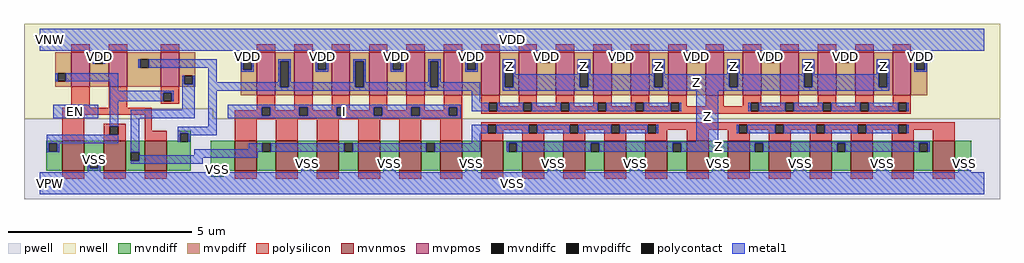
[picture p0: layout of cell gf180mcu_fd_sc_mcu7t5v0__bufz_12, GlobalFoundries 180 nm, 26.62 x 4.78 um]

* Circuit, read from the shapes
.subckt gf180mcu_fd_sc_mcu7t5v0__bufz_12 EN I Z VDD VNW VPW VSS
XM1 VSS EN n1 VPW nfet_06v0 w=0.82u l=0.6u
XM2 n2 n1 VSS VPW nfet_06v0 w=0.82u l=0.6u
XM3 n3 EN n2 VPW nfet_06v0 w=0.82u l=0.6u
XM4 n2 I VSS VPW nfet_06v0 w=0.82u l=0.6u m=6
XM5 Z n2 VSS VPW nfet_06v0 w=0.82u l=0.6u m=12
XM6 VDD EN n1 VNW pfet_06v0 w=0.945u l=0.5u
XM7 n3 EN VDD VNW pfet_06v0 w=0.945u l=0.5u
XM8 n2 n1 n3 VNW pfet_06v0 w=0.945u l=0.5u
XM9 n3 I VDD VNW pfet_06v0 w=1.175u l=0.5u m=6
XM10 Z n3 VDD VNW pfet_06v0 w=1.175u l=0.5u m=12
.ends

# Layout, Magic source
magic
tech gf180mcuD
magscale 1 10
<< nwell >>
rect -86 407 5238 870
rect -86 352 575 407
rect 943 352 5238 407
<< pwell >>
rect 575 352 943 407
rect -86 -86 5238 352
<< mvnmos >>
rect 124 68 244 232
rect 348 68 468 232
rect 572 68 692 232
rect 1064 68 1184 232
rect 1288 68 1408 232
rect 1512 68 1632 232
rect 1736 68 1856 232
rect 1960 68 2080 232
rect 2184 68 2304 232
rect 2408 68 2528 232
rect 2632 68 2752 232
rect 2856 68 2976 232
rect 3080 68 3200 232
rect 3304 68 3424 232
rect 3528 68 3648 232
rect 3752 68 3872 232
rect 3976 68 4096 232
rect 4200 68 4320 232
rect 4424 68 4544 232
rect 4648 68 4768 232
rect 4872 68 4992 232
<< mvpmos >>
rect 172 527 272 716
rect 376 527 476 716
rect 660 527 760 716
rect 1184 481 1284 716
rect 1388 481 1488 716
rect 1592 481 1692 716
rect 1796 481 1896 716
rect 2000 481 2100 716
rect 2204 481 2304 716
rect 2408 481 2508 716
rect 2612 481 2712 716
rect 2816 481 2916 716
rect 3020 481 3120 716
rect 3224 481 3324 716
rect 3428 481 3528 716
rect 3632 481 3732 716
rect 3836 481 3936 716
rect 4040 481 4140 716
rect 4244 481 4344 716
rect 4448 481 4548 716
rect 4652 481 4752 716
<< mvndiff >>
rect 752 274 824 287
rect 752 232 765 274
rect 36 219 124 232
rect 36 173 49 219
rect 95 173 124 219
rect 36 68 124 173
rect 244 128 348 232
rect 244 82 273 128
rect 319 82 348 128
rect 244 68 348 82
rect 468 169 572 232
rect 468 123 497 169
rect 543 123 572 169
rect 468 68 572 123
rect 692 228 765 232
rect 811 228 824 274
rect 692 68 824 228
rect 932 95 1064 232
rect 932 49 945 95
rect 991 68 1064 95
rect 1184 219 1288 232
rect 1184 173 1213 219
rect 1259 173 1288 219
rect 1184 68 1288 173
rect 1408 127 1512 232
rect 1408 81 1437 127
rect 1483 81 1512 127
rect 1408 68 1512 81
rect 1632 219 1736 232
rect 1632 173 1661 219
rect 1707 173 1736 219
rect 1632 68 1736 173
rect 1856 127 1960 232
rect 1856 81 1885 127
rect 1931 81 1960 127
rect 1856 68 1960 81
rect 2080 219 2184 232
rect 2080 173 2109 219
rect 2155 173 2184 219
rect 2080 68 2184 173
rect 2304 127 2408 232
rect 2304 81 2333 127
rect 2379 81 2408 127
rect 2304 68 2408 81
rect 2528 219 2632 232
rect 2528 173 2557 219
rect 2603 173 2632 219
rect 2528 68 2632 173
rect 2752 127 2856 232
rect 2752 81 2781 127
rect 2827 81 2856 127
rect 2752 68 2856 81
rect 2976 219 3080 232
rect 2976 173 3005 219
rect 3051 173 3080 219
rect 2976 68 3080 173
rect 3200 127 3304 232
rect 3200 81 3229 127
rect 3275 81 3304 127
rect 3200 68 3304 81
rect 3424 219 3528 232
rect 3424 173 3453 219
rect 3499 173 3528 219
rect 3424 68 3528 173
rect 3648 127 3752 232
rect 3648 81 3677 127
rect 3723 81 3752 127
rect 3648 68 3752 81
rect 3872 219 3976 232
rect 3872 173 3901 219
rect 3947 173 3976 219
rect 3872 68 3976 173
rect 4096 127 4200 232
rect 4096 81 4125 127
rect 4171 81 4200 127
rect 4096 68 4200 81
rect 4320 219 4424 232
rect 4320 173 4349 219
rect 4395 173 4424 219
rect 4320 68 4424 173
rect 4544 127 4648 232
rect 4544 81 4573 127
rect 4619 81 4648 127
rect 4544 68 4648 81
rect 4768 219 4872 232
rect 4768 173 4797 219
rect 4843 173 4872 219
rect 4768 68 4872 173
rect 4992 127 5080 232
rect 4992 81 5021 127
rect 5067 81 5080 127
rect 4992 68 5080 81
rect 991 49 1004 68
rect 932 36 1004 49
<< mvpdiff >>
rect 84 602 172 716
rect 84 556 97 602
rect 143 556 172 602
rect 84 527 172 556
rect 272 698 376 716
rect 272 652 301 698
rect 347 652 376 698
rect 272 527 376 652
rect 476 678 660 716
rect 476 632 548 678
rect 594 632 660 678
rect 476 527 660 632
rect 760 586 848 716
rect 760 540 789 586
rect 835 540 848 586
rect 760 527 848 540
rect 1096 665 1184 716
rect 1096 619 1109 665
rect 1155 619 1184 665
rect 1096 481 1184 619
rect 1284 665 1388 716
rect 1284 525 1313 665
rect 1359 525 1388 665
rect 1284 481 1388 525
rect 1488 665 1592 716
rect 1488 619 1517 665
rect 1563 619 1592 665
rect 1488 481 1592 619
rect 1692 665 1796 716
rect 1692 525 1721 665
rect 1767 525 1796 665
rect 1692 481 1796 525
rect 1896 665 2000 716
rect 1896 619 1925 665
rect 1971 619 2000 665
rect 1896 481 2000 619
rect 2100 665 2204 716
rect 2100 525 2129 665
rect 2175 525 2204 665
rect 2100 481 2204 525
rect 2304 665 2408 716
rect 2304 619 2333 665
rect 2379 619 2408 665
rect 2304 481 2408 619
rect 2508 665 2612 716
rect 2508 525 2537 665
rect 2583 525 2612 665
rect 2508 481 2612 525
rect 2712 703 2816 716
rect 2712 657 2741 703
rect 2787 657 2816 703
rect 2712 481 2816 657
rect 2916 665 3020 716
rect 2916 525 2945 665
rect 2991 525 3020 665
rect 2916 481 3020 525
rect 3120 703 3224 716
rect 3120 657 3149 703
rect 3195 657 3224 703
rect 3120 481 3224 657
rect 3324 665 3428 716
rect 3324 525 3353 665
rect 3399 525 3428 665
rect 3324 481 3428 525
rect 3528 703 3632 716
rect 3528 657 3557 703
rect 3603 657 3632 703
rect 3528 481 3632 657
rect 3732 665 3836 716
rect 3732 525 3761 665
rect 3807 525 3836 665
rect 3732 481 3836 525
rect 3936 703 4040 716
rect 3936 657 3965 703
rect 4011 657 4040 703
rect 3936 481 4040 657
rect 4140 665 4244 716
rect 4140 525 4169 665
rect 4215 525 4244 665
rect 4140 481 4244 525
rect 4344 703 4448 716
rect 4344 657 4373 703
rect 4419 657 4448 703
rect 4344 481 4448 657
rect 4548 665 4652 716
rect 4548 525 4577 665
rect 4623 525 4652 665
rect 4548 481 4652 525
rect 4752 665 4840 716
rect 4752 619 4781 665
rect 4827 619 4840 665
rect 4752 481 4840 619
<< mvndiffc >>
rect 49 173 95 219
rect 273 82 319 128
rect 497 123 543 169
rect 765 228 811 274
rect 945 49 991 95
rect 1213 173 1259 219
rect 1437 81 1483 127
rect 1661 173 1707 219
rect 1885 81 1931 127
rect 2109 173 2155 219
rect 2333 81 2379 127
rect 2557 173 2603 219
rect 2781 81 2827 127
rect 3005 173 3051 219
rect 3229 81 3275 127
rect 3453 173 3499 219
rect 3677 81 3723 127
rect 3901 173 3947 219
rect 4125 81 4171 127
rect 4349 173 4395 219
rect 4573 81 4619 127
rect 4797 173 4843 219
rect 5021 81 5067 127
<< mvpdiffc >>
rect 97 556 143 602
rect 301 652 347 698
rect 548 632 594 678
rect 789 540 835 586
rect 1109 619 1155 665
rect 1313 525 1359 665
rect 1517 619 1563 665
rect 1721 525 1767 665
rect 1925 619 1971 665
rect 2129 525 2175 665
rect 2333 619 2379 665
rect 2537 525 2583 665
rect 2741 657 2787 703
rect 2945 525 2991 665
rect 3149 657 3195 703
rect 3353 525 3399 665
rect 3557 657 3603 703
rect 3761 525 3807 665
rect 3965 657 4011 703
rect 4169 525 4215 665
rect 4373 657 4419 703
rect 4577 525 4623 665
rect 4781 619 4827 665
<< polysilicon >>
rect 172 716 272 760
rect 376 716 476 760
rect 660 716 760 760
rect 1184 716 1284 760
rect 1388 716 1488 760
rect 1592 716 1692 760
rect 1796 716 1896 760
rect 2000 716 2100 760
rect 2204 716 2304 760
rect 2408 716 2508 760
rect 2612 716 2712 760
rect 2816 716 2916 760
rect 3020 716 3120 760
rect 3224 716 3324 760
rect 3428 716 3528 760
rect 3632 716 3732 760
rect 3836 716 3936 760
rect 4040 716 4140 760
rect 4244 716 4344 760
rect 4448 716 4548 760
rect 4652 716 4752 760
rect 172 413 272 527
rect 376 413 476 527
rect 660 493 760 527
rect 660 447 673 493
rect 719 447 760 493
rect 660 434 760 447
rect 1184 415 1284 481
rect 124 412 612 413
rect 124 366 185 412
rect 231 373 612 412
rect 1184 399 1211 415
rect 231 366 244 373
rect 124 232 244 366
rect 348 311 468 324
rect 348 265 381 311
rect 427 265 468 311
rect 348 232 468 265
rect 572 288 612 373
rect 1064 369 1211 399
rect 1257 399 1284 415
rect 1388 415 1488 481
rect 1388 399 1415 415
rect 1257 369 1415 399
rect 1461 399 1488 415
rect 1592 415 1692 481
rect 1592 399 1619 415
rect 1461 369 1619 399
rect 1665 399 1692 415
rect 1796 415 1896 481
rect 1796 399 1823 415
rect 1665 369 1823 399
rect 1869 399 1896 415
rect 2000 415 2100 481
rect 2000 399 2027 415
rect 1869 369 2027 399
rect 2073 399 2100 415
rect 2204 415 2304 481
rect 2204 399 2231 415
rect 2073 369 2231 399
rect 2277 369 2304 415
rect 2408 439 2508 481
rect 2408 393 2449 439
rect 2495 420 2508 439
rect 2612 439 2712 481
rect 2612 420 2638 439
rect 2495 393 2638 420
rect 2684 420 2712 439
rect 2816 439 2916 481
rect 2816 420 2843 439
rect 2684 393 2843 420
rect 2889 420 2916 439
rect 3020 439 3120 481
rect 3020 420 3045 439
rect 2889 393 3045 420
rect 3091 420 3120 439
rect 3224 439 3324 481
rect 3224 420 3249 439
rect 3091 393 3249 420
rect 3295 420 3324 439
rect 3428 439 3528 481
rect 3428 420 3441 439
rect 3295 393 3441 420
rect 3487 420 3528 439
rect 3632 420 3732 481
rect 3836 439 3936 481
rect 3836 420 3877 439
rect 3487 393 3877 420
rect 3923 420 3936 439
rect 4040 439 4140 481
rect 4040 420 4067 439
rect 3923 393 4067 420
rect 4113 420 4140 439
rect 4244 439 4344 481
rect 4244 420 4271 439
rect 4113 393 4271 420
rect 4317 420 4344 439
rect 4448 439 4548 481
rect 4448 420 4475 439
rect 4317 393 4475 420
rect 4521 420 4548 439
rect 4652 439 4752 481
rect 4652 420 4682 439
rect 4521 393 4682 420
rect 4728 393 4752 439
rect 2408 380 4752 393
rect 1064 349 2304 369
rect 572 232 692 288
rect 1064 232 1184 349
rect 1288 232 1408 349
rect 1512 232 1632 349
rect 1736 232 1856 349
rect 1960 232 2080 349
rect 2184 232 2304 349
rect 2408 319 4992 332
rect 2408 273 2443 319
rect 2489 292 2667 319
rect 2489 273 2528 292
rect 2408 232 2528 273
rect 2632 273 2667 292
rect 2713 292 2892 319
rect 2713 273 2752 292
rect 2632 232 2752 273
rect 2856 273 2892 292
rect 2938 292 3118 319
rect 2938 273 2976 292
rect 2856 232 2976 273
rect 3080 273 3118 292
rect 3164 292 3317 319
rect 3164 273 3200 292
rect 3080 232 3200 273
rect 3304 273 3317 292
rect 3363 292 3813 319
rect 3363 273 3424 292
rect 3304 232 3424 273
rect 3528 232 3648 292
rect 3752 273 3813 292
rect 3859 292 4013 319
rect 3859 273 3872 292
rect 3752 232 3872 273
rect 3976 273 4013 292
rect 4059 292 4236 319
rect 4059 273 4096 292
rect 3976 232 4096 273
rect 4200 273 4236 292
rect 4282 292 4462 319
rect 4282 273 4320 292
rect 4200 232 4320 273
rect 4424 273 4462 292
rect 4508 292 4682 319
rect 4508 273 4544 292
rect 4424 232 4544 273
rect 4648 273 4682 292
rect 4728 292 4992 319
rect 4728 273 4768 292
rect 4648 232 4768 273
rect 4872 232 4992 292
rect 124 24 244 68
rect 348 24 468 68
rect 572 24 692 68
rect 1064 24 1184 68
rect 1288 24 1408 68
rect 1512 24 1632 68
rect 1736 24 1856 68
rect 1960 24 2080 68
rect 2184 24 2304 68
rect 2408 24 2528 68
rect 2632 24 2752 68
rect 2856 24 2976 68
rect 3080 24 3200 68
rect 3304 24 3424 68
rect 3528 24 3648 68
rect 3752 24 3872 68
rect 3976 24 4096 68
rect 4200 24 4320 68
rect 4424 24 4544 68
rect 4648 24 4768 68
rect 4872 24 4992 68
<< polycontact >>
rect 673 447 719 493
rect 185 366 231 412
rect 381 265 427 311
rect 1211 369 1257 415
rect 1415 369 1461 415
rect 1619 369 1665 415
rect 1823 369 1869 415
rect 2027 369 2073 415
rect 2231 369 2277 415
rect 2449 393 2495 439
rect 2638 393 2684 439
rect 2843 393 2889 439
rect 3045 393 3091 439
rect 3249 393 3295 439
rect 3441 393 3487 439
rect 3877 393 3923 439
rect 4067 393 4113 439
rect 4271 393 4317 439
rect 4475 393 4521 439
rect 4682 393 4728 439
rect 2443 273 2489 319
rect 2667 273 2713 319
rect 2892 273 2938 319
rect 3118 273 3164 319
rect 3317 273 3363 319
rect 3813 273 3859 319
rect 4013 273 4059 319
rect 4236 273 4282 319
rect 4462 273 4508 319
rect 4682 273 4728 319
<< metal1 >>
rect 0 724 5152 844
rect 290 698 358 724
rect 290 652 301 698
rect 347 652 358 698
rect 537 632 548 678
rect 594 632 965 678
rect 84 556 97 602
rect 143 556 427 602
rect 381 504 427 556
rect 778 540 789 586
rect 835 540 846 586
rect 381 493 730 504
rect 381 447 673 493
rect 719 447 730 493
rect 74 412 318 430
rect 74 366 185 412
rect 231 366 318 412
rect 74 354 318 366
rect 381 311 427 447
rect 778 401 846 540
rect 38 219 427 265
rect 497 355 846 401
rect 919 552 965 632
rect 1098 665 1166 724
rect 1098 619 1109 665
rect 1155 619 1166 665
rect 1098 608 1166 619
rect 1302 665 1370 676
rect 1302 552 1313 665
rect 919 525 1313 552
rect 1359 552 1370 665
rect 1506 665 1574 724
rect 1506 619 1517 665
rect 1563 619 1574 665
rect 1506 608 1574 619
rect 1710 665 1778 676
rect 1710 552 1721 665
rect 1359 525 1721 552
rect 1767 552 1778 665
rect 1914 665 1982 724
rect 1914 619 1925 665
rect 1971 619 1982 665
rect 1914 608 1982 619
rect 2118 665 2186 676
rect 2118 552 2129 665
rect 1767 525 2129 552
rect 2175 552 2186 665
rect 2322 665 2390 724
rect 2730 703 2798 724
rect 2322 619 2333 665
rect 2379 619 2390 665
rect 2322 608 2390 619
rect 2526 665 2594 676
rect 2175 525 2402 552
rect 919 506 2402 525
rect 2526 525 2537 665
rect 2583 594 2594 665
rect 2730 657 2741 703
rect 2787 657 2798 703
rect 3138 703 3206 724
rect 2934 665 3002 676
rect 2934 594 2945 665
rect 2583 525 2945 594
rect 2991 594 3002 665
rect 3138 657 3149 703
rect 3195 657 3206 703
rect 3546 703 3614 724
rect 3342 665 3410 676
rect 3342 594 3353 665
rect 2991 525 3353 594
rect 3399 594 3410 665
rect 3546 657 3557 703
rect 3603 657 3614 703
rect 3954 703 4022 724
rect 3750 665 3818 676
rect 3750 594 3761 665
rect 3399 525 3761 594
rect 3807 594 3818 665
rect 3954 657 3965 703
rect 4011 657 4022 703
rect 4362 703 4430 724
rect 4158 665 4226 676
rect 4158 594 4169 665
rect 3807 525 4169 594
rect 4215 594 4226 665
rect 4362 657 4373 703
rect 4419 657 4430 703
rect 4566 665 4634 676
rect 4566 594 4577 665
rect 4215 525 4577 594
rect 4623 525 4634 665
rect 4770 665 4838 724
rect 4770 619 4781 665
rect 4827 619 4838 665
rect 4770 608 4838 619
rect 2526 506 4634 525
rect 38 173 49 219
rect 95 173 106 219
rect 38 170 106 173
rect 497 169 543 355
rect 919 309 965 506
rect 2356 439 2402 506
rect 1025 415 2296 430
rect 1025 369 1211 415
rect 1257 369 1415 415
rect 1461 369 1619 415
rect 1665 369 1823 415
rect 1869 369 2027 415
rect 2073 369 2231 415
rect 2277 369 2296 415
rect 2356 393 2449 439
rect 2495 393 2638 439
rect 2684 393 2843 439
rect 2889 393 3045 439
rect 3091 393 3249 439
rect 3295 393 3441 439
rect 3487 393 3498 439
rect 1025 354 2296 369
rect 754 274 965 309
rect 754 228 765 274
rect 811 263 965 274
rect 2356 273 2443 319
rect 2489 273 2667 319
rect 2713 273 2892 319
rect 2938 273 3118 319
rect 3164 273 3317 319
rect 3363 273 3375 319
rect 811 228 822 263
rect 2356 219 2402 273
rect 3580 227 3700 506
rect 3866 393 3877 439
rect 3923 393 4067 439
rect 4113 393 4271 439
rect 4317 393 4475 439
rect 4521 393 4682 439
rect 4728 393 4741 439
rect 3802 273 3813 319
rect 3859 273 4013 319
rect 4059 273 4236 319
rect 4282 273 4462 319
rect 4508 273 4682 319
rect 4728 273 4741 319
rect 1139 187 1213 219
rect 262 128 330 131
rect 262 82 273 128
rect 319 82 330 128
rect 843 173 1213 187
rect 1259 173 1661 219
rect 1707 173 2109 219
rect 2155 173 2402 219
rect 2546 219 4854 227
rect 2546 173 2557 219
rect 2603 173 3005 219
rect 3051 173 3453 219
rect 3499 173 3901 219
rect 3947 173 4349 219
rect 4395 173 4797 219
rect 4843 173 4854 219
rect 843 152 1189 173
rect 543 141 1189 152
rect 543 123 888 141
rect 497 106 888 123
rect 262 60 330 82
rect 934 60 945 95
rect 0 49 945 60
rect 991 60 1002 95
rect 1426 81 1437 127
rect 1483 81 1494 127
rect 1426 60 1494 81
rect 1874 81 1885 127
rect 1931 81 1942 127
rect 1874 60 1942 81
rect 2322 81 2333 127
rect 2379 81 2390 127
rect 2322 60 2390 81
rect 2770 81 2781 127
rect 2827 81 2838 127
rect 2770 60 2838 81
rect 3218 81 3229 127
rect 3275 81 3286 127
rect 3218 60 3286 81
rect 3666 81 3677 127
rect 3723 81 3734 127
rect 3666 60 3734 81
rect 4114 81 4125 127
rect 4171 81 4182 127
rect 4114 60 4182 81
rect 4562 81 4573 127
rect 4619 81 4630 127
rect 4562 60 4630 81
rect 5010 81 5021 127
rect 5067 81 5078 127
rect 5010 60 5078 81
rect 991 49 5152 60
rect 0 -60 5152 49
<< labels >>
flabel metal1 s 0 724 5152 844 0 FreeSans 400 0 0 0 VDD
port 4 nsew power bidirectional abutment
flabel metal1 s 262 127 330 131 0 FreeSans 400 0 0 0 VSS
port 7 nsew ground bidirectional abutment
flabel metal1 s 1025 354 2296 430 0 FreeSans 400 0 0 0 I
port 2 nsew default input
flabel metal1 s 4566 594 4634 676 0 FreeSans 400 0 0 0 Z
port 3 nsew default output
flabel metal1 s 74 354 318 430 0 FreeSans 600 0 0 0 EN
port 1 nsew default input
flabel nwell s 10 734 110 834 0 FreeSans 400 0 0 0 VNW
port 5 nsew power bidirectional
flabel pwell s 10 -50 110 50 0 FreeSans 400 0 0 0 VPW
port 6 nsew ground bidirectional
rlabel metal1 s 4158 594 4226 676 1 Z
port 3 nsew default output
rlabel metal1 s 3750 594 3818 676 1 Z
port 3 nsew default output
rlabel metal1 s 3342 594 3410 676 1 Z
port 3 nsew default output
rlabel metal1 s 2934 594 3002 676 1 Z
port 3 nsew default output
rlabel metal1 s 2526 594 2594 676 1 Z
port 3 nsew default output
rlabel metal1 s 2526 506 4634 594 1 Z
port 3 nsew default output
rlabel metal1 s 3580 227 3700 506 1 Z
port 3 nsew default output
rlabel metal1 s 2546 173 4854 227 1 Z
port 3 nsew default output
rlabel metal1 s 4770 657 4838 724 1 VDD
port 4 nsew power bidirectional abutment
rlabel metal1 s 4362 657 4430 724 1 VDD
port 4 nsew power bidirectional abutment
rlabel metal1 s 3954 657 4022 724 1 VDD
port 4 nsew power bidirectional abutment
rlabel metal1 s 3546 657 3614 724 1 VDD
port 4 nsew power bidirectional abutment
rlabel metal1 s 3138 657 3206 724 1 VDD
port 4 nsew power bidirectional abutment
rlabel metal1 s 2730 657 2798 724 1 VDD
port 4 nsew power bidirectional abutment
rlabel metal1 s 2322 657 2390 724 1 VDD
port 4 nsew power bidirectional abutment
rlabel metal1 s 1914 657 1982 724 1 VDD
port 4 nsew power bidirectional abutment
rlabel metal1 s 1506 657 1574 724 1 VDD
port 4 nsew power bidirectional abutment
rlabel metal1 s 1098 657 1166 724 1 VDD
port 4 nsew power bidirectional abutment
rlabel metal1 s 290 657 358 724 1 VDD
port 4 nsew power bidirectional abutment
rlabel metal1 s 4770 652 4838 657 1 VDD
port 4 nsew power bidirectional abutment
rlabel metal1 s 2322 652 2390 657 1 VDD
port 4 nsew power bidirectional abutment
rlabel metal1 s 1914 652 1982 657 1 VDD
port 4 nsew power bidirectional abutment
rlabel metal1 s 1506 652 1574 657 1 VDD
port 4 nsew power bidirectional abutment
rlabel metal1 s 1098 652 1166 657 1 VDD
port 4 nsew power bidirectional abutment
rlabel metal1 s 290 652 358 657 1 VDD
port 4 nsew power bidirectional abutment
rlabel metal1 s 4770 608 4838 652 1 VDD
port 4 nsew power bidirectional abutment
rlabel metal1 s 2322 608 2390 652 1 VDD
port 4 nsew power bidirectional abutment
rlabel metal1 s 1914 608 1982 652 1 VDD
port 4 nsew power bidirectional abutment
rlabel metal1 s 1506 608 1574 652 1 VDD
port 4 nsew power bidirectional abutment
rlabel metal1 s 1098 608 1166 652 1 VDD
port 4 nsew power bidirectional abutment
rlabel metal1 s 5010 95 5078 127 1 VSS
port 7 nsew ground bidirectional abutment
rlabel metal1 s 4562 95 4630 127 1 VSS
port 7 nsew ground bidirectional abutment
rlabel metal1 s 4114 95 4182 127 1 VSS
port 7 nsew ground bidirectional abutment
rlabel metal1 s 3666 95 3734 127 1 VSS
port 7 nsew ground bidirectional abutment
rlabel metal1 s 3218 95 3286 127 1 VSS
port 7 nsew ground bidirectional abutment
rlabel metal1 s 2770 95 2838 127 1 VSS
port 7 nsew ground bidirectional abutment
rlabel metal1 s 2322 95 2390 127 1 VSS
port 7 nsew ground bidirectional abutment
rlabel metal1 s 1874 95 1942 127 1 VSS
port 7 nsew ground bidirectional abutment
rlabel metal1 s 1426 95 1494 127 1 VSS
port 7 nsew ground bidirectional abutment
rlabel metal1 s 262 95 330 127 1 VSS
port 7 nsew ground bidirectional abutment
rlabel metal1 s 5010 60 5078 95 1 VSS
port 7 nsew ground bidirectional abutment
rlabel metal1 s 4562 60 4630 95 1 VSS
port 7 nsew ground bidirectional abutment
rlabel metal1 s 4114 60 4182 95 1 VSS
port 7 nsew ground bidirectional abutment
rlabel metal1 s 3666 60 3734 95 1 VSS
port 7 nsew ground bidirectional abutment
rlabel metal1 s 3218 60 3286 95 1 VSS
port 7 nsew ground bidirectional abutment
rlabel metal1 s 2770 60 2838 95 1 VSS
port 7 nsew ground bidirectional abutment
rlabel metal1 s 2322 60 2390 95 1 VSS
port 7 nsew ground bidirectional abutment
rlabel metal1 s 1874 60 1942 95 1 VSS
port 7 nsew ground bidirectional abutment
rlabel metal1 s 1426 60 1494 95 1 VSS
port 7 nsew ground bidirectional abutment
rlabel metal1 s 934 60 1002 95 1 VSS
port 7 nsew ground bidirectional abutment
rlabel metal1 s 262 60 330 95 1 VSS
port 7 nsew ground bidirectional abutment
rlabel metal1 s 0 -60 5152 60 1 VSS
port 7 nsew ground bidirectional abutment
<< properties >>
string FIXED_BBOX 0 0 5152 784
string GDS_END 1427884
string GDS_FILE $PDKPATH/libs.ref/gf180mcu_fd_sc_mcu7t5v0/gds/gf180mcu_fd_sc_mcu7t5v0.gds
string GDS_START 1417274
string LEFclass core
string LEFsite GF018hv5v_mcu_sc7
string LEFsymmetry X Y
<< end >>
